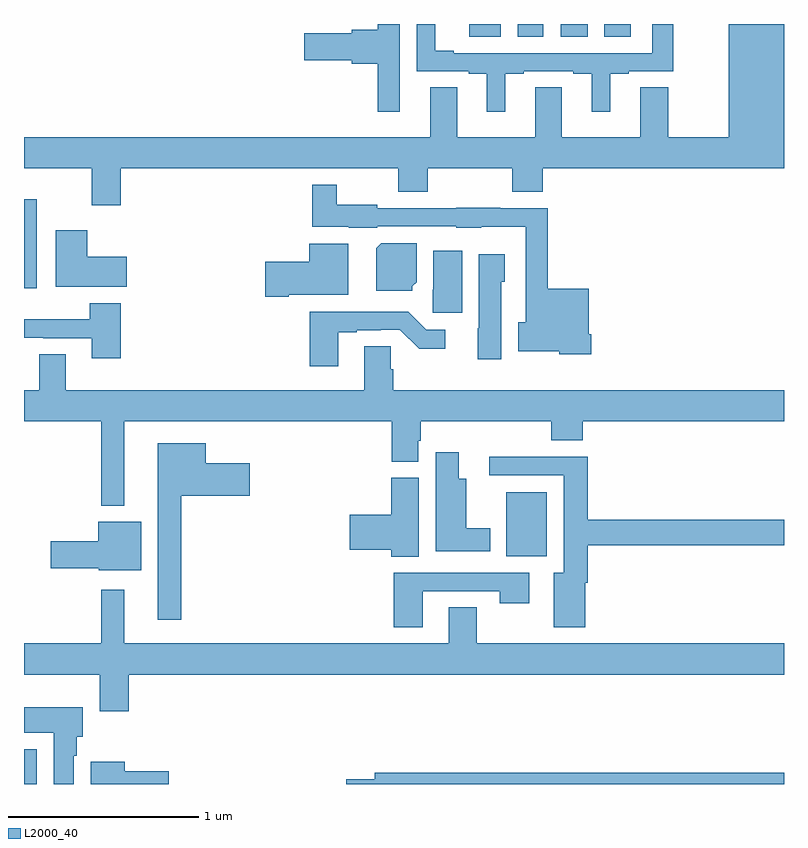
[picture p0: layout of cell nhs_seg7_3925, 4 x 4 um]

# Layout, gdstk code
import gdstk
lib = gdstk.Library(unit=1e-6, precision=1e-09)
def R(c, l, rs):  # rectangles x0, y0, x1, y1
    for r in rs: c.add(gdstk.rectangle(r[:2], r[2:], *l))
def P(c, l, *ps):  # polygons
    for p in ps: c.add(gdstk.Polygon(p, *l))
L2000_40 = (2000, 40)

nhs_seg7_3925 = lib.new_cell('nhs_seg7_3925')
R(nhs_seg7_3925, L2000_40, [(359,1040,359.068,1040.182), (361.538,1041.2,361.75,1041.535), (359,1042.608,359.068,1043.077), (361.343,1043.932,361.51,1044), (361.598,1043.932,361.732,1044), (361.826,1043.932,361.966,1044), (362.054,1043.932,362.194,1044)])
P(nhs_seg7_3925, L2000_40, [(361.534,1043.739),(361.63,1043.739),(361.63,1043.751),(361.892,1043.751),(361.892,1043.739),(361.988,1043.739),(361.988,1043.538),(362.086,1043.538),(362.086,1043.739),(362.182,1043.739),(362.182,1043.751),(362.416,1043.751),(362.416,1044),(362.307,1044),(362.307,1043.847),(361.261,1043.847),(361.261,1043.86),(361.165,1043.86),(361.165,1044),(361.068,1044),(361.068,1043.751),(361.34,1043.751),(361.34,1043.739),(361.436,1043.739),(361.436,1043.538),(361.534,1043.538)],
  [(360.978,1044),(360.862,1044),(360.862,1043.969),(360.726,1043.969),(360.726,1043.951),(360.474,1043.951),(360.474,1043.809),(360.726,1043.809),(360.726,1043.791),(360.862,1043.791),(360.862,1043.538),(360.978,1043.538)],
  [(359.51,1043.24),(360.97,1043.24),(360.97,1043.116),(361.125,1043.116),(361.125,1043.24),(361.57,1043.24),(361.57,1043.116),(361.73,1043.116),(361.73,1043.24),(363,1043.24),(363,1044),(362.708,1044),(362.708,1043.404),(362.391,1043.404),(362.391,1043.666),(362.243,1043.666),(362.243,1043.404),(361.831,1043.404),(361.831,1043.666),(361.691,1043.666),(361.691,1043.404),(361.279,1043.404),(361.279,1043.666),(361.139,1043.666),(361.139,1043.404),(359,1043.404),(359,1043.24),(359.357,1043.24),(359.357,1043.046),(359.51,1043.046)],
  [(361.985,1042.366),(361.972,1042.366),(361.972,1042.606),(361.757,1042.606),(361.757,1043.031),(361.507,1043.031),(361.507,1043.033),(361.275,1043.033),(361.275,1043.031),(360.858,1043.031),(360.858,1043.05),(360.646,1043.05),(360.646,1043.155),(360.517,1043.155),(360.517,1042.934),(360.708,1042.934),(360.708,1042.928),(360.858,1042.928),(360.858,1042.935),(361.275,1042.935),(361.275,1042.928),(361.407,1042.928),(361.407,1042.934),(361.641,1042.934),(361.641,1042.43),(361.601,1042.43),(361.601,1042.277),(361.818,1042.277),(361.818,1042.262),(361.985,1042.262)],
  [(359.542,1042.774),(359.332,1042.774),(359.332,1042.915),(359.168,1042.915),(359.168,1042.616),(359.542,1042.616)],
  [(361.044,1042.62),(361.066,1042.642),(361.066,1042.846),(360.88,1042.846),(360.854,1042.82),(360.854,1042.595),(361.044,1042.595)],
  [(360.393,1042.574),(360.706,1042.574),(360.706,1042.844),(360.5,1042.844),(360.5,1042.748),(360.27,1042.748),(360.27,1042.565),(360.393,1042.565)],
  [(361.306,1042.807),(361.154,1042.807),(361.154,1042.602),(361.15,1042.602),(361.15,1042.479),(361.306,1042.479)],
  [(361.513,1042.644),(361.531,1042.644),(361.531,1042.789),(361.394,1042.789),(361.394,1042.398),(361.388,1042.398),(361.388,1042.236),(361.513,1042.236)],
  [(359.51,1042.531),(359.345,1042.531),(359.345,1042.447),(359,1042.447),(359,1042.348),(359.002,1042.35),(359.101,1042.35),(359.101,1042.347),(359.357,1042.347),(359.357,1042.242),(359.51,1042.242)],
  [(360.655,1042.377),(360.751,1042.377),(360.751,1042.389),(360.878,1042.389),(360.878,1042.392),(360.978,1042.392),(361.081,1042.29),(361.216,1042.29),(361.216,1042.392),(361.116,1042.392),(361.022,1042.486),(360.503,1042.486),(360.503,1042.2),(360.655,1042.2)],
  [(359.527,1041.908),(360.935,1041.908),(360.935,1041.697),(361.075,1041.697),(361.075,1041.807),(361.088,1041.807),(361.088,1041.908),(361.775,1041.908),(361.775,1041.809),(361.94,1041.809),(361.94,1041.908),(363,1041.908),(363,1042.072),(360.944,1042.072),(360.944,1042.182),(360.93,1042.182),(360.93,1042.304),(360.791,1042.304),(360.791,1042.072),(359.221,1042.072),(359.221,1042.262),(359.081,1042.262),(359.081,1042.072),(359,1042.072),(359,1041.908),(359.406,1041.908),(359.406,1041.464),(359.527,1041.464)],
  [(359.827,1041.518),(360.187,1041.518),(360.187,1041.688),(359.956,1041.688),(359.956,1041.793),(359.705,1041.793),(359.705,1040.865),(359.827,1040.865)],
  [(361.453,1041.346),(361.327,1041.346),(361.327,1041.607),(361.288,1041.607),(361.288,1041.745),(361.166,1041.745),(361.166,1041.224),(361.453,1041.224)],
  [(361.954,1041.059),(361.967,1041.059),(361.967,1041.256),(363,1041.256),(363,1041.392),(361.967,1041.392),(361.967,1041.722),(361.449,1041.722),(361.449,1041.624),(361.841,1041.624),(361.841,1041.112),(361.787,1041.112),(361.787,1040.826),(361.954,1040.826)],
  [(361.078,1041.612),(360.932,1041.612),(360.932,1041.416),(360.714,1041.416),(360.714,1041.233),(360.932,1041.233),(360.932,1041.196),(361.078,1041.196)],
  [(359.617,1041.379),(359.39,1041.379),(359.39,1041.278),(359.142,1041.278),(359.142,1041.136),(359.394,1041.136),(359.394,1041.125),(359.617,1041.125)],
  [(361.099,1041.015),(361.504,1041.015),(361.504,1040.952),(361.66,1040.952),(361.66,1041.111),(360.947,1041.111),(360.947,1040.826),(361.099,1040.826)],
  [(359.552,1040.576),(363,1040.576),(363,1040.74),(361.383,1040.74),(361.383,1040.93),(361.235,1040.93),(361.235,1040.74),(359.527,1040.74),(359.527,1041.022),(359.406,1041.022),(359.406,1040.74),(359,1040.74),(359,1040.576),(359.399,1040.576),(359.399,1040.382),(359.552,1040.382)],
  [(359.263,1040.15),(359.278,1040.15),(359.278,1040.25),(359.308,1040.25),(359.308,1040.404),(359,1040.404),(359,1040.27),(359.156,1040.27),(359.156,1040),(359.263,1040)],
  [(359.761,1040.066),(359.53,1040.066),(359.53,1040.116),(359.351,1040.116),(359.351,1040),(359.761,1040)],
  [(363,1040.06),(360.845,1040.06),(360.845,1040.024),(360.696,1040.024),(360.696,1040),(363,1040)])

lib.write_gds('nhs_seg7_3925.gds')
